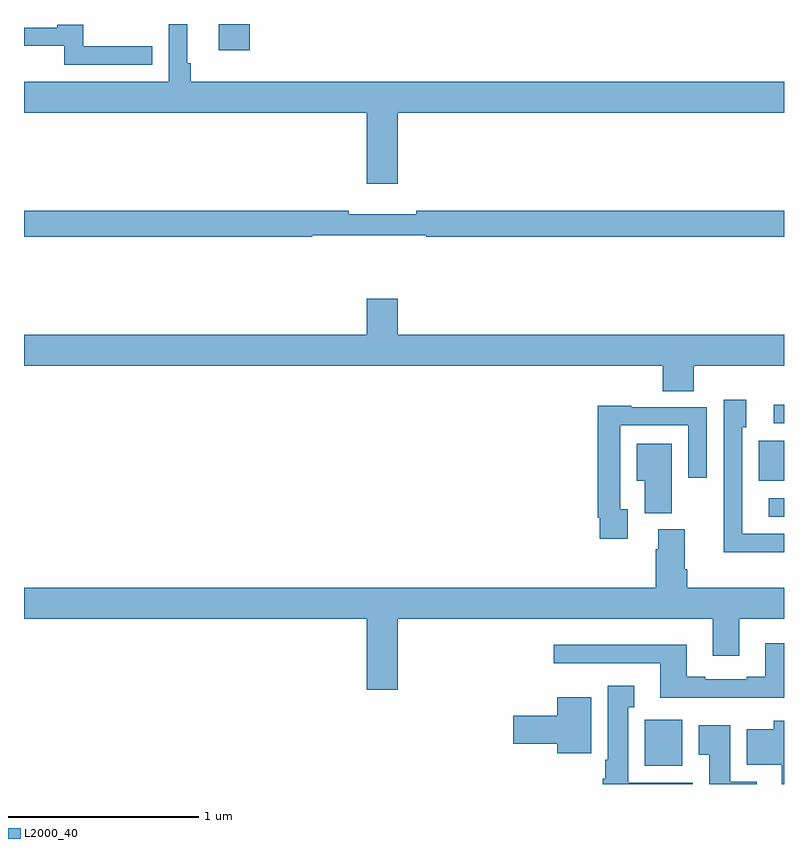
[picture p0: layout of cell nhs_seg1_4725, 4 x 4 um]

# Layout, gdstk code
import gdstk
lib = gdstk.Library(unit=1e-6, precision=1e-09)
def R(c, l, rs):  # rectangles x0, y0, x1, y1
    for r in rs: c.add(gdstk.rectangle(r[:2], r[2:], *l))
def P(c, l, *ps):  # polygons
    for p in ps: c.add(gdstk.Polygon(p, *l))
L2000_40 = (2000, 40)

nhs_seg1_4725 = lib.new_cell('nhs_seg1_4725')
R(nhs_seg1_4725, L2000_40, [(370.268,548.294,370.465,548.536), (370.92,549.606,371,549.702), (370.868,549.794,371,550.005), (370.947,550.098,371,550.196), (368.024,552.06,368.188,552.199)])
P(nhs_seg1_4725, L2000_40, [(368.968,551.732),(371,551.732),(371,551.896),(367.877,551.896),(367.877,551.992),(367.858,551.992),(367.858,552.199),(367.761,552.199),(367.761,551.896),(367,551.896),(367,551.732),(368.804,551.732),(368.804,551.358),(368.968,551.358)],
  [(367.676,552.081),(367.312,552.081),(367.312,552.196),(367.176,552.196),(367.176,552.18),(367,552.18),(367,552.084),(367.213,552.084),(367.213,551.985),(367.676,551.985)],
  [(368.518,551.088),(369.118,551.088),(369.118,551.08),(371,551.08),(371,551.216),(369.064,551.216),(369.064,551.197),(368.708,551.197),(368.708,551.216),(367,551.216),(367,551.08),(368.518,551.08)],
  [(370.526,550.4),(371,550.4),(371,550.564),(368.968,550.564),(368.968,550.753),(368.804,550.753),(368.804,550.564),(367,550.564),(367,550.4),(370.361,550.4),(370.361,550.267),(370.526,550.267)],
  [(371,549.516),(370.779,549.516),(370.779,550.077),(370.801,550.077),(370.801,550.222),(370.683,550.222),(370.683,549.722),(370.682,549.722),(370.682,549.419),(371,549.419)],
  [(370.177,549.645),(370.137,549.645),(370.137,550.086),(370.497,550.086),(370.497,549.81),(370.593,549.81),(370.593,550.182),(370.197,550.182),(370.197,550.189),(370.021,550.189),(370.021,549.601),(370.029,549.601),(370.029,549.489),(370.177,549.489)],
  [(370.408,549.991),(370.226,549.991),(370.226,549.794),(370.268,549.794),(370.268,549.625),(370.408,549.625)],
  [(368.968,549.068),(370.625,549.068),(370.625,548.874),(370.765,548.874),(370.765,549.068),(371,549.068),(371,549.232),(370.49,549.232),(370.49,549.328),(370.477,549.328),(370.477,549.54),(370.337,549.54),(370.337,549.434),(370.325,549.434),(370.325,549.232),(367,549.232),(367,549.068),(368.804,549.068),(368.804,548.694),(368.968,548.694)],
  [(371,548.941),(370.901,548.941),(370.901,548.764),(370.805,548.764),(370.805,548.751),(370.585,548.751),(370.585,548.764),(370.489,548.764),(370.489,548.932),(369.789,548.932),(369.789,548.835),(370.349,548.835),(370.349,548.654),(371,548.654)],
  [(370.519,548.206),(370.18,548.206),(370.18,548.603),(370.213,548.603),(370.213,548.716),(370.073,548.716),(370.073,548.326),(370.058,548.326),(370.058,548.226),(370.046,548.226),(370.046,548.199),(370.519,548.199)],
  [(369.985,548.656),(369.806,548.656),(369.806,548.558),(369.576,548.558),(369.576,548.411),(369.806,548.411),(369.806,548.36),(369.985,548.36)],
  [(371,548.532),(370.946,548.532),(370.946,548.488),(370.805,548.488),(370.805,548.3),(370.988,548.3),(370.988,548.199),(371,548.199)],
  [(370.856,548.212),(370.717,548.212),(370.717,548.509),(370.55,548.509),(370.55,548.353),(370.607,548.353),(370.607,548.199),(370.856,548.199)])

lib.write_gds('nhs_seg1_4725.gds')
